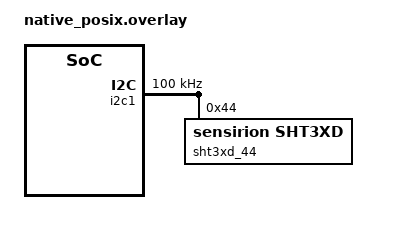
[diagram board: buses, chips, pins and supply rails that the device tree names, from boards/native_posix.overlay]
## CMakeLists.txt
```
# SPDX-License-Identifier: Apache-2.0

cmake_minimum_required(VERSION 3.20.0)
get_filename_component(HVB_FIRMWARE_ROOT ${CMAKE_CURRENT_SOURCE_DIR}/../../.. ABSOLUTE)
set(ZEPHYR_EXTRA_MODULES ${HVB_FIRMWARE_ROOT})
find_package(Zephyr REQUIRED HINTS $ENV{ZEPHYR_BASE})
project(voltage_control_ss_shell)

target_sources(app PRIVATE
	src/main.c
	../vc_controller/src/vc_channel_stub.c
)
target_include_directories(app PRIVATE ${HVB_FIRMWARE_ROOT}/include)
```

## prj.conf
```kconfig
CONFIG_ZTEST=y
CONFIG_SHELL=y
CONFIG_SHELL_BACKEND_DUMMY=y
CONFIG_GPIO=y
CONFIG_I2C=y
CONFIG_EMUL=y
CONFIG_I2C_EMUL=y
CONFIG_SENSOR=y
CONFIG_SHT3XD=y
CONFIG_SYS_STATUS=y
CONFIG_SYS_STATUS_SHELL=y
CONFIG_REBOOT=y
CONFIG_SYS_RESET=y
CONFIG_SYS_RESET_DELAY_MS=20
```

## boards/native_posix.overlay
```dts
#include <dt-bindings/voltage_control/capabilities.h>

/*
 * native_posix overlay for ss_shell test.
 *
 * The board already provides gpio0 (gpio_emul) and the led0 alias, so
 * sys_status's heartbeat LED compiles and initialises without errors.
 *
 * sys_status also needs DT_NODELABEL(i2c1) with a sht3xd@44 child for
 * the temperature/humidity sensor.  We add an emulated I2C controller
 * here; the sensor read will return an error at runtime, leaving the
 * atomics at 0, but sys_status_get() is unaffected.
 */

/ {
	vc_controller: vc-controller {
		compatible = "jianwei,vc-controller";
		#address-cells = <1>;
		#size-cells = <0>;
		status = "okay";

		vc_ch0: channel@0 {
			compatible = "jianwei,vc-channel-stub";
			reg = <0>;
			label = "CH0";
			capabilities = <(CH_CAP_OUTPUT_ENABLE | CH_CAP_RAW_OUTPUT_DRIVE |
					 CH_CAP_VOLTAGE_MEASUREMENT | CH_CAP_CURRENT_MEASUREMENT)>;
		};

		vc_ch1: channel@1 {
			compatible = "jianwei,vc-channel-stub";
			reg = <1>;
			label = "CH1";
			capabilities = <(CH_CAP_OUTPUT_ENABLE | CH_CAP_RAW_OUTPUT_DRIVE |
					 CH_CAP_VOLTAGE_MEASUREMENT | CH_CAP_CURRENT_MEASUREMENT)>;
		};
	};

	i2c1: i2c@200 {
		compatible = "zephyr,i2c-emul-controller";
		reg = <0x200 4>;
		clock-frequency = <100000>;
		#address-cells = <1>;
		#size-cells = <0>;
		status = "okay";

		sht3xd_44: sht3xd@44 {
			compatible = "sensirion,sht3xd";
			reg = <0x44>;
		};
	};
};
```

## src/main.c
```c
/*
 * Copyright (c) 2026 Jianwei
 * SPDX-License-Identifier: Apache-2.0
 */

#include <errno.h>

#include <zephyr/kernel.h>
#include <zephyr/shell/shell.h>
#include <zephyr/shell/shell_dummy.h>
#include <zephyr/ztest.h>

#include "reg_store/reg_catalog.h"
#include "reg_store/reg_schema.h"

static struct k_sem reset_called;

void sys_status_platform_reset(void)
{
	k_sem_give(&reset_called);
}

static void expect_command_result(const char *command, int expected)
{
	const struct shell *shell = shell_backend_dummy_get_ptr();
	int ret = shell_execute_cmd(shell, command);

	zassert_equal(ret, expected, "command '%s' returned %d, expected %d",
		      command, ret, expected);
}

ZTEST(ss_shell, test_ss_is_registered)
{
	expect_command_result("ss", 0);
}

ZTEST(ss_shell, test_system_status_is_exposed_through_catalog)
{
	union reg_value value = {};

	/* FW_VERSION is major:8|minor:8|patch:16, sourced from the
	 * firmware-vX.Y.Z git tag at build time (falls back to 0.0.0 when
	 * untagged) — its exact value depends on repo tag state, not a
	 * fixed constant, so only readability is asserted here. */
	zassert_equal(reg_read(REG_SYS_STATUS_ID(REG_SYS_STATUS_FIELD_FW_VERSION), &value),
		      REG_OK);
	zassert_equal(reg_read(REG_SYS_STATUS_ID(REG_SYS_STATUS_FIELD_UPTIME), &value), REG_OK);
	zassert_equal(reg_read(REG_SYS_STATUS_ID(REG_SYS_STATUS_FIELD_BOARD_TEMPERATURE),
			       &value), REG_OK);
	zassert_equal(reg_read(REG_SYS_STATUS_ID(REG_SYS_STATUS_FIELD_BOARD_HUMIDITY),
			       &value), REG_OK);
}

ZTEST(ss_shell, test_reset_is_routed_through_catalog)
{
	union reg_value value = { .u16 = 1U };

	k_sem_init(&reset_called, 0, 1);
	zassert_equal(reg_write(REG_SYS_STATUS_ID(REG_SYS_STATUS_FIELD_RESET),
				value, K_NO_WAIT), REG_OK);
	zassert_equal(k_sem_take(&reset_called, K_NO_WAIT), -EBUSY);
	zassert_equal(k_sem_take(&reset_called, K_MSEC(100)), 0);
}

ZTEST(ss_shell, test_reset_is_acknowledged_before_execution)
{
	k_sem_init(&reset_called, 0, 1);
	expect_command_result("ss reset", 0);
	zassert_equal(k_sem_take(&reset_called, K_NO_WAIT), -EBUSY);
	zassert_equal(k_sem_take(&reset_called, K_MSEC(100)), 0);
}

ZTEST_SUITE(ss_shell, NULL, NULL, NULL, NULL, NULL);
```
